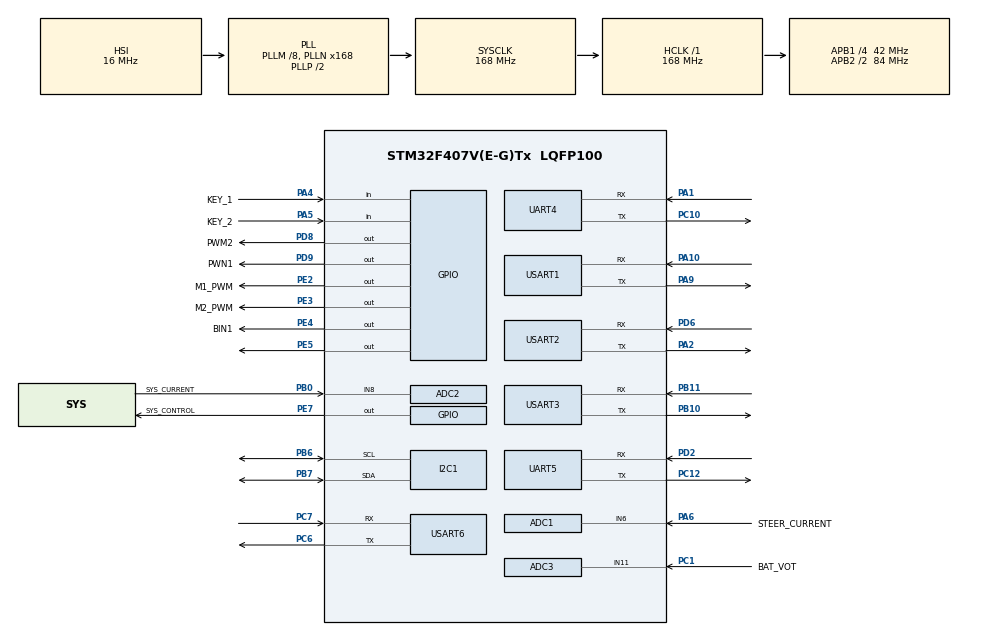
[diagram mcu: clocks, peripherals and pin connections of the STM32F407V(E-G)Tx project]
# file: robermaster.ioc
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ADC1.Channel-6\#ChannelRegularConversion=ADC_CHANNEL_6
ADC1.ClockPrescaler=ADC_CLOCK_SYNC_PCLK_DIV4
ADC1.NbrOfConversionFlag=1
ADC1.Rank-6\#ChannelRegularConversion=1
ADC1.SamplingTime-6\#ChannelRegularConversion=ADC_SAMPLETIME_3CYCLES
ADC1.master=1
ADC2.Channel-0\#ChannelRegularConversion=ADC_CHANNEL_8
ADC2.ClockPrescaler=ADC_CLOCK_SYNC_PCLK_DIV4
ADC2.NbrOfConversionFlag=1
ADC2.Rank-0\#ChannelRegularConversion=1
ADC2.SamplingTime-0\#ChannelRegularConversion=ADC_SAMPLETIME_3CYCLES
ADC3.Channel-0\#ChannelRegularConversion=ADC_CHANNEL_11
ADC3.ClockPrescaler=ADC_CLOCK_SYNC_PCLK_DIV4
ADC3.NbrOfConversionFlag=1
ADC3.Rank-0\#ChannelRegularConversion=1
ADC3.SamplingTime-0\#ChannelRegularConversion=ADC_SAMPLETIME_3CYCLES
Mcu.Family=STM32F4
Mcu.Name=STM32F407V(E-G)Tx
Mcu.Package=LQFP100
NVIC.PriorityGroup=NVIC_PRIORITYGROUP_4
PA1.Mode=Asynchronous
PA1.Signal=UART4_RX
PA10.Mode=Asynchronous
PA10.Signal=USART1_RX
PA13.Mode=Serial_Wire
PA13.Signal=SYS_JTMS-SWDIO
PA14.Mode=Serial_Wire
PA14.Signal=SYS_JTCK-SWCLK
PA2.Mode=Asynchronous
PA2.Signal=USART2_TX
PA4.GPIO_Label=KEY_1
PA4.Signal=GPIO_Input
PA5.GPIO_Label=KEY_2
PA5.Signal=GPIO_Input
PA6.GPIO_Label=STEER_CURRENT
PA6.Signal=ADCx_IN6
PA9.Mode=Asynchronous
PA9.Signal=USART1_TX
PB0.GPIO_Label=SYS_CURRENT
PB0.Signal=ADCx_IN8
PB10.Mode=Asynchronous
PB10.Signal=USART3_TX
PB11.Mode=Asynchronous
PB11.Signal=USART3_RX
PB6.Mode=I2C
PB6.Signal=I2C1_SCL
PB7.Mode=I2C
PB7.Signal=I2C1_SDA
PC1.GPIO_Label=BAT_VOT
PC1.Signal=ADCx_IN11
PC10.Mode=Asynchronous
PC10.Signal=UART4_TX
PC12.Mode=Asynchronous
PC12.Signal=UART5_TX
PC6.Mode=Asynchronous
PC6.Signal=USART6_TX
PC7.Mode=Asynchronous
PC7.Signal=USART6_RX
PD2.Mode=Asynchronous
PD2.Signal=UART5_RX
PD6.Mode=Asynchronous
PD6.Signal=USART2_RX
PD8.GPIO_Label=PWM2
PD8.Signal=GPIO_Output
PD9.GPIO_Label=PWN1
PD9.Signal=GPIO_Output
PE0.GPIO_Label=AIN2
PE0.Signal=EVENTOUT
PE1.GPIO_Label=AIN1
PE1.Signal=EVENTOUT
PE2.GPIO_Label=M1_PWM
PE2.Signal=GPIO_Output
PE3.GPIO_Label=M2_PWM
PE3.Signal=GPIO_Output
PE4.GPIO_Label=BIN1
PE4.Signal=GPIO_Output
PE5.Signal=GPIO_Output
PE7.GPIO_Label=SYS_CONTROL
PE7.Signal=GPIO_Output
ProjectManager.HeapSize=0x200
ProjectManager.StackSize=0x400
ProjectManager.TargetToolchain=CMake
RCC.48MHZClocksFreq_Value=84000000
RCC.AHBFreq_Value=168000000
RCC.APB1CLKDivider=RCC_HCLK_DIV4
RCC.APB1Freq_Value=42000000
RCC.APB1TimFreq_Value=84000000
RCC.APB2CLKDivider=RCC_HCLK_DIV2
RCC.APB2Freq_Value=84000000
RCC.APB2TimFreq_Value=168000000
RCC.CortexFreq_Value=168000000
RCC.HCLKFreq_Value=168000000
RCC.HSE_VALUE=25000000
RCC.HSI_VALUE=16000000
RCC.LSE_VALUE=32768
RCC.PLLM=8
RCC.PLLN=168
RCC.SYSCLKFreq_VALUE=168000000
RCC.SYSCLKSource=RCC_SYSCLKSOURCE_PLLCLK
RCC.VCOOutputFreq_Value=336000000
SH.ADCx_IN11.0=ADC3_IN11,IN11
SH.ADCx_IN6.0=ADC1_IN6,IN6
SH.ADCx_IN8.0=ADC2_IN8,IN8
UART4.VirtualMode=Asynchronous
UART5.VirtualMode=Asynchronous
USART1.VirtualMode=VM_ASYNC
USART2.VirtualMode=VM_ASYNC
USART3.VirtualMode=VM_ASYNC
USART6.VirtualMode=VM_ASYNC
board=custom

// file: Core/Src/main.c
/* USER CODE BEGIN Header */
/**
  ******************************************************************************
  * @file           : main.c
  * @brief          : Main program body
  ******************************************************************************
  * @attention
  *
  * Copyright (c) 2025 STMicroelectronics.
  * All rights reserved.
  *
  * This software is licensed under terms that can be found in the LICENSE file
  * in the root directory of this software component.
  * If no LICENSE file comes with this software, it is provided AS-IS.
  *
  ******************************************************************************
  */
/* USER CODE END Header */
#include "main.h"
#include "adc.h"
#include "i2c.h"
#include "usart.h"
#include "gpio.h"

/* USER CODE BEGIN Includes */
#include "mpu.h"
#include "stdio.h"
#include "string.h"
/* USER CODE END Includes */

void SystemClock_Config(void);

int main(void)
{

  /* MCU Configuration--------------------------------------------------------*/

  /* Reset of all peripherals, Initializes the Flash interface and the Systick. */
  HAL_Init();

  /* Configure the system clock */
  SystemClock_Config();

  /* Initialize all configured peripherals */
  MX_GPIO_Init();
  MX_ADC1_Init();
  MX_ADC2_Init();
  MX_ADC3_Init();
  MX_I2C1_Init();
  MX_UART4_Init();
  MX_USART1_UART_Init();
  MX_USART2_UART_Init();
  MX_USART3_UART_Init();
  MX_USART6_UART_Init();
  MX_UART5_Init();
  /* USER CODE BEGIN 2 */
  MPU6050_Init();
  MPU6050_Gyro_Calibrate(100);
  /* USER CODE END 2 */

  /* Infinite loop */
  /* USER CODE BEGIN WHILE */
  while (1)
  {
        float Ax, Ay, Az;
        float Gx, Gy, Gz;
        float Temp;

        // 读取校准后的角速度（Gx/Gy/Gz已补偿零漂）
        MPU6050_Read_Gyro(&Gx, &Gy, &Gz);
        // 读取加速度和温度（原有逻辑不变）
        MPU6050_Read_Accel(&Ax, &Ay, &Az);
        MPU6050_Read_Temp(&Temp);

        // 串口打印校准后的数据
        char data_buf[200];
        sprintf(data_buf, "Ax: %f, Ay: %f, Az: %f\r\n", Ax, Ay, Az);
        char temp_buf[50];
        int a =1;
        int b =2;
        int c =3;
        sprintf(temp_buf, "Gx: %d, Gy: %d, Gz: %d\r\n", a, b, c);

        HAL_UART_Transmit(&huart1, (uint8_t*)data_buf, strlen(data_buf), HAL_MAX_DELAY);

        // 延迟500ms，降低串口打印频率
        HAL_Delay(500);
    /* USER CODE END WHILE */

  }
}

void SystemClock_Config(void)
{
  RCC_OscInitTypeDef RCC_OscInitStruct = {0};
  RCC_ClkInitTypeDef RCC_ClkInitStruct = {0};

  /** Configure the main internal regulator output voltage
  */
  __HAL_RCC_PWR_CLK_ENABLE();
  __HAL_PWR_VOLTAGESCALING_CONFIG(PWR_REGULATOR_VOLTAGE_SCALE1);

  /** Initializes the RCC Oscillators according to the specified parameters
  * in the RCC_OscInitTypeDef structure.
  */
  RCC_OscInitStruct.OscillatorType = RCC_OSCILLATORTYPE_HSI;
  RCC_OscInitStruct.HSIState = RCC_HSI_ON;
  RCC_OscInitStruct.HSICalibrationValue = RCC_HSICALIBRATION_DEFAULT;
  RCC_OscInitStruct.PLL.PLLState = RCC_PLL_ON;
  RCC_OscInitStruct.PLL.PLLSource = RCC_PLLSOURCE_HSI;
  RCC_OscInitStruct.PLL.PLLM = 8;
  RCC_OscInitStruct.PLL.PLLN = 168;
  RCC_OscInitStruct.PLL.PLLP = RCC_PLLP_DIV2;
  RCC_OscInitStruct.PLL.PLLQ = 4;
  if (HAL_RCC_OscConfig(&RCC_OscInitStruct) != HAL_OK)
  {
    Error_Handler();
  }

  /** Initializes the CPU, AHB and APB buses clocks
  */
  RCC_ClkInitStruct.ClockType = RCC_CLOCKTYPE_HCLK|RCC_CLOCKTYPE_SYSCLK
                              |RCC_CLOCKTYPE_PCLK1|RCC_CLOCKTYPE_PCLK2;
  RCC_ClkInitStruct.SYSCLKSource = RCC_SYSCLKSOURCE_PLLCLK;
  RCC_ClkInitStruct.AHBCLKDivider = RCC_SYSCLK_DIV1;
  RCC_ClkInitStruct.APB1CLKDivider = RCC_HCLK_DIV4;
  RCC_ClkInitStruct.APB2CLKDivider = RCC_HCLK_DIV2;

  if (HAL_RCC_ClockConfig(&RCC_ClkInitStruct, FLASH_LATENCY_5) != HAL_OK)
  {
    Error_Handler();
  }
}

void Error_Handler(void)
{
  __disable_irq();
  while (1)
  {
  }
}
